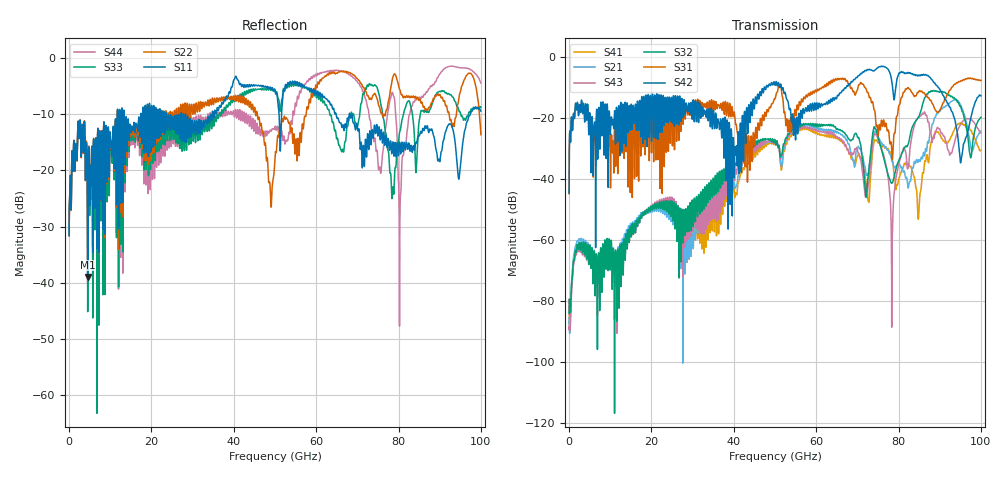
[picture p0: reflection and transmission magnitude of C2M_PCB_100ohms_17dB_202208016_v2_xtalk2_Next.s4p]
! Info: Touchstone file created by Circ.  Input file=Intel_C2M_200G_5p5in_202208016_staggered.circ
# Hz S RI R 50
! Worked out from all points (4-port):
!   10000 points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, 10 MHz to 100 GHz, reference 50 ohm
!   strongest paths, dB at 10 MHz, 25.01 GHz, 50.01 GHz, 75.01 GHz, 100 GHz:
!     S42: -44.5, -17.8, -9.3, -3.5, -12.7
!     S31: -44.8, -20.4, -13.6, -25.4, -7.7
!     S32: -84.0, -47.4, -27.3, -26.1, -19.8
!     S43: -88.2, -46.1, -27.2, -26.9, -24.9
!     S21: -85.4, -48.9, -27.5, -26.1, -24.2
!     S41: -87.5, -47.7, -27.6, -28.1, -30.6
!   lowest |S11| = -39.0 dB at 4.53 GHz (marker M1), VSWR 1.02, Z = 49.9 - j1.12 ohm
!   |S11| at or under -10 dB: start of sweep to 11.7 GHz; 28.28 GHz to 34.78 GHz (6.5 GHz wide, 20.6 % of centre); 68.2 GHz to 97.42 GHz (29.22 GHz wide, 35.3 % of centre)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
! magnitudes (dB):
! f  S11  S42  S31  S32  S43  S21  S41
! 10 MHz  -31.6  -44.5  -44.8  -84.0  -88.2  -85.4  -87.5
! 4.53 GHz  -39.0  -15.5  -16.6  -61.4  -63.9  -60.7  -62.8
! 56.57 GHz  -4.8  -20.1  -14.0  -22.4  -23.3  -22.6  -23.8
! 74.53 GHz  -13.0  -4.0  -22.2  -23.8  -25.5  -24.7  -27.3
! 78.41 GHz  -16.8  -8.4  -31.9  -41.3  -66.0  -34.2  -33.6
! 84.9 GHz  -13.9  -5.9  -11.4  -19.5  -19.9  -33.6  -51.6
! 100 GHz  -9.5  -12.7  -7.7  -19.8  -24.9  -24.2  -30.6
